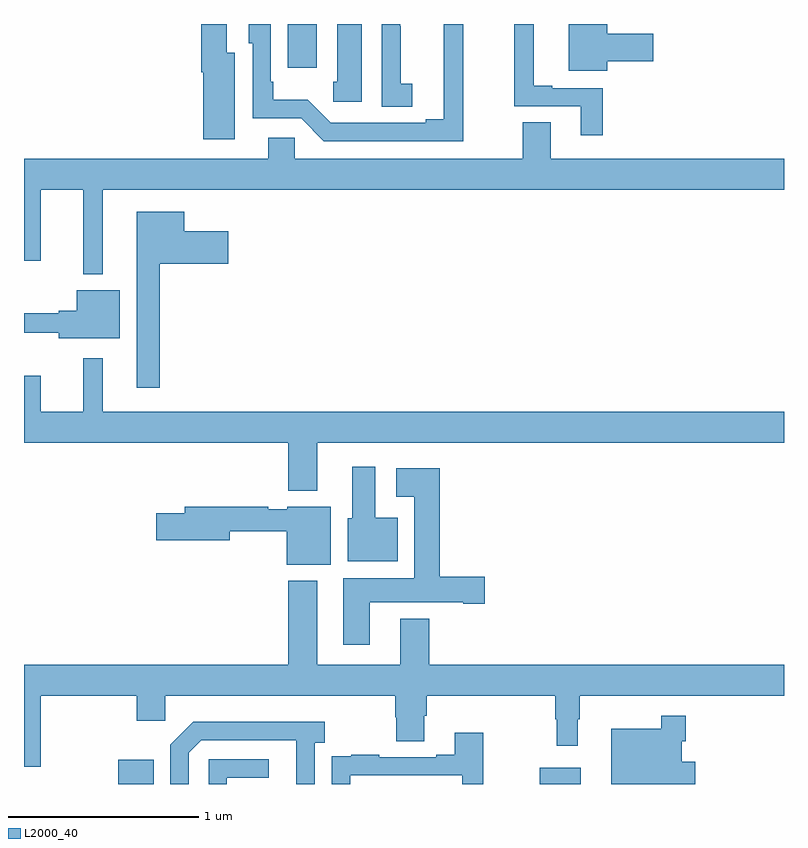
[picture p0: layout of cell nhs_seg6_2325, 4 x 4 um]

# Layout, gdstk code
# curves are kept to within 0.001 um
import gdstk
lib = gdstk.Library(unit=1e-6, precision=1e-09)
def R(c, l, rs):  # rectangles x0, y0, x1, y1
    for r in rs: c.add(gdstk.rectangle(r[:2], r[2:], *l))
def P(c, l, *ps):  # polygons
    for p in ps: c.add(gdstk.Polygon(p, *l))
L2000_40 = (2000, 40)

nhs_seg6_2325 = lib.new_cell('nhs_seg6_2325')
R(nhs_seg6_2325, L2000_40, [(249.495,985.5,249.682,985.627), (251.714,985.5,251.929,985.585), (250.388,989.271,250.54,989.5)])
P(nhs_seg6_2325, L2000_40, [(251.312,989.5),(251.209,989.5),(251.21,989),(251.114,989),(251.114,988.98),(250.614,988.98),(250.493,989.101),(250.312,989.101),(250.312,989.197),(250.299,989.197),(250.299,989.5),(250.182,989.5),(250.182,989.4),(250.203,989.4),(250.203,989.004),(250.458,989.004),(250.578,988.884),(251.312,988.884)],
  [(252.047,989.163),(251.779,989.163),(251.779,989.176),(251.684,989.176),(251.684,989.5),(251.581,989.5),(251.581,989.067),(251.93,989.067),(251.93,988.914),(252.047,988.914)],
  [(251.044,989.185),(250.983,989.185),(250.983,989.489),(250.981,989.489),(250.981,989.5),(250.884,989.5),(250.884,989.065),(251.044,989.065)],
  [(250.108,989.35),(250.066,989.35),(250.066,989.5),(249.932,989.5),(249.932,989.246),(249.944,989.246),(249.944,988.893),(250.108,988.893)],
  [(252.07,989.303),(252.313,989.303),(252.313,989.45),(252.07,989.45),(252.07,989.5),(251.867,989.5),(251.867,989.255),(252.07,989.255)],
  [(250.777,989.5),(250.649,989.5),(250.649,989.196),(250.627,989.196),(250.627,989.091),(250.777,989.091)],
  [(249.415,988.628),(253,988.628),(253,988.792),(251.773,988.792),(251.773,988.982),(251.626,988.982),(251.626,988.792),(250.425,988.792),(250.425,988.902),(250.286,988.902),(250.286,988.792),(249,988.792),(249,988.254),(249.088,988.254),(249.088,988.628),(249.311,988.628),(249.311,988.184),(249.415,988.184)],
  [(249.715,988.238),(250.075,988.238),(250.075,988.408),(249.844,988.408),(249.844,988.513),(249.593,988.513),(249.593,987.585),(249.715,987.585)],
  [(249.505,988.099),(249.278,988.099),(249.278,987.992),(249.182,987.992),(249.182,987.977),(249,987.977),(249,987.874),(249.182,987.874),(249.182,987.845),(249.505,987.845)],
  [(250.543,987.296),(253,987.296),(253,987.46),(249.415,987.46),(249.415,987.742),(249.311,987.742),(249.311,987.46),(249.088,987.46),(249.088,987.649),(249,987.649),(249,987.296),(250.391,987.296),(250.391,987.044),(250.543,987.044)],
  [(250.966,986.902),(250.849,986.902),(250.849,987.169),(250.727,987.169),(250.727,986.898),(250.703,986.898),(250.703,986.672),(250.966,986.672)],
  [(250.819,986.456),(251.312,986.456),(251.312,986.449),(251.425,986.449),(251.425,986.591),(251.189,986.591),(251.189,987.163),(250.959,987.163),(250.959,987.011),(251.054,987.011),(251.054,986.584),(250.679,986.584),(250.679,986.232),(250.819,986.232)],
  [(250.615,986.959),(250.386,986.959),(250.386,986.946),(250.286,986.946),(250.286,986.959),(249.845,986.959),(249.845,986.925),(249.696,986.925),(249.696,986.783),(250.084,986.783),(250.084,986.83),(250.382,986.83),(250.382,986.654),(250.615,986.654)],
  [(249.088,985.964),(249.593,985.964),(249.593,985.833),(249.744,985.833),(249.744,985.964),(250.955,985.964),(250.955,985.851),(250.96,985.851),(250.96,985.726),(251.107,985.726),(251.107,985.858),(251.12,985.858),(251.12,985.964),(251.797,985.964),(251.797,985.841),(251.805,985.841),(251.805,985.701),(251.914,985.701),(251.914,985.841),(251.926,985.841),(251.926,985.964),(253,985.964),(253,986.128),(251.132,986.128),(251.132,986.371),(250.979,986.371),(250.979,986.128),(250.543,986.128),(250.543,986.569),(250.391,986.569),(250.391,986.128),(249,986.128),(249,985.59),(249.088,985.59)],
  [(252.532,985.617),(252.463,985.617),(252.463,985.725),(252.482,985.725),(252.482,985.858),(252.354,985.858),(252.354,985.792),(252.092,985.792),(252.092,985.5),(252.532,985.5)],
  [(249.867,985.665),(249.933,985.731),(250.433,985.731),(250.434,985.5),(250.53,985.5),(250.53,985.718),(250.582,985.718),(250.582,985.828),(249.892,985.828),(249.771,985.707),(249.771,985.5),(249.867,985.5)],
  [(250.716,985.545),(251.307,985.545),(251.307,985.5),(251.416,985.5),(251.416,985.771),(251.267,985.771),(251.267,985.654),(251.171,985.654),(251.171,985.641),(250.871,985.641),(250.871,985.654),(250.723,985.654),(250.723,985.647),(250.621,985.647),(250.621,985.538),(250.62,985.538),(250.62,985.5),(250.716,985.5)],
  [(250.068,985.533),(250.288,985.533),(250.288,985.629),(249.972,985.629),(249.972,985.5),(250.068,985.5)])

lib.write_gds('nhs_seg6_2325.gds')
